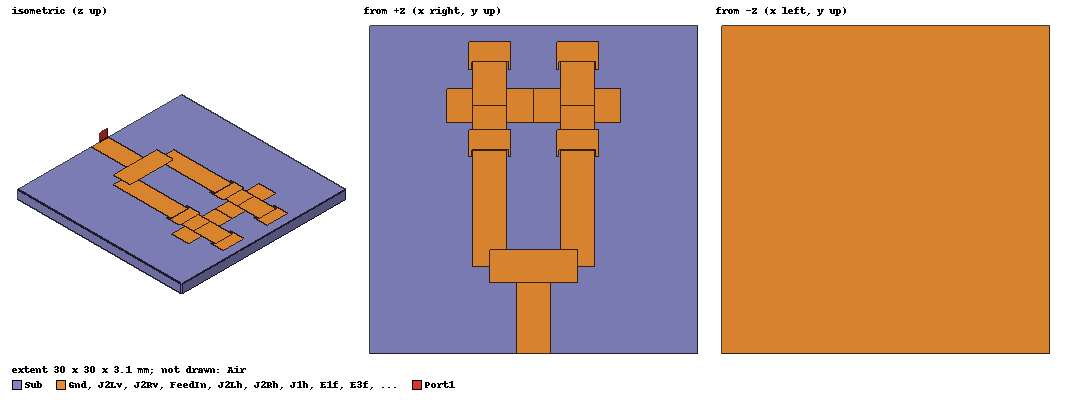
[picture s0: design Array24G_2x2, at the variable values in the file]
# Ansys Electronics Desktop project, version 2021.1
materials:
  vacuum: permittivity=1
  FR4_epoxy: permittivity=4.4 dielectric_loss_tangent=0.02

design Array24G_2x2 (HFSS, DrivenModal, model units mm)
options: Save_Adaptive_support_files
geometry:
  Sub [FR4_epoxy] = box(corner=(0mm, 0mm, -1.6mm), size=(30mm, 30mm, 1.6mm))
  Gnd = rectangle(corner=(0mm, 0mm, -1.6mm), x_size=30mm, y_size=30mm)
  FeedIn = rectangle(corner=(13.45mm, 0mm, 0mm), x_size=3.1mm, y_size=8mm)
  J1h = rectangle(corner=(11mm, 6.45mm, 0mm), x_size=8mm, y_size=3.1mm)
  J2Lv = rectangle(corner=(9.45mm, 8mm, 0mm), x_size=3.1mm, y_size=14.7mm)
  J2Rv = rectangle(corner=(17.45mm, 8mm, 0mm), x_size=3.1mm, y_size=14.7mm)
  J2Lh = rectangle(corner=(7mm, 21.15mm, 0mm), x_size=8mm, y_size=3.1mm)
  J2Rh = rectangle(corner=(15mm, 21.15mm, 0mm), x_size=8mm, y_size=3.1mm)
  E1f = rectangle(corner=(9.45mm, 18.6mm, 0mm), x_size=3.1mm, y_size=4.1mm)
  E2f = rectangle(corner=(17.45mm, 18.6mm, 0mm), x_size=3.1mm, y_size=4.1mm)
  E3f = rectangle(corner=(9.45mm, 22.7mm, 0mm), x_size=3.1mm, y_size=4.1mm)
  E4f = rectangle(corner=(17.45mm, 22.7mm, 0mm), x_size=3.1mm, y_size=4.1mm)
  E1_L = rectangle(corner=(9.1mm, 18mm, 0mm), x_size=0.2mm, y_size=2.5mm)
  E1_R = rectangle(corner=(12.7mm, 18mm, 0mm), x_size=0.2mm, y_size=2.5mm)
  E1_T = rectangle(corner=(9.1mm, 18.7mm, 0mm), x_size=3.8mm, y_size=1.8mm)
  E1_L.unite(E1_R, E1_T)
  E2_L = rectangle(corner=(17.1mm, 18mm, 0mm), x_size=0.2mm, y_size=2.5mm)
  E2_R = rectangle(corner=(20.7mm, 18mm, 0mm), x_size=0.2mm, y_size=2.5mm)
  E2_T = rectangle(corner=(17.1mm, 18.7mm, 0mm), x_size=3.8mm, y_size=1.8mm)
  E2_L.unite(E2_R, E2_T)
  E3_L = rectangle(corner=(9.1mm, 26mm, 0mm), x_size=0.2mm, y_size=2.5mm)
  E3_R = rectangle(corner=(12.7mm, 26mm, 0mm), x_size=0.2mm, y_size=2.5mm)
  E3_T = rectangle(corner=(9.1mm, 26.7mm, 0mm), x_size=3.8mm, y_size=1.8mm)
  E3_L.unite(E3_R, E3_T)
  E4_L = rectangle(corner=(17.1mm, 26mm, 0mm), x_size=0.2mm, y_size=2.5mm)
  E4_R = rectangle(corner=(20.7mm, 26mm, 0mm), x_size=0.2mm, y_size=2.5mm)
  E4_T = rectangle(corner=(17.1mm, 26.7mm, 0mm), x_size=3.8mm, y_size=1.8mm)
  E4_L.unite(E4_R, E4_T)
  Port1 = rectangle(corner=(13.45mm, 0mm, -1.6mm), z_size=3.1mm, x_size=1.6mm)
  Air [vacuum] = box(corner=(-8mm, -8mm, -9.6mm), size=(46mm, 46mm, 17.6mm))
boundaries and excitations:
  PE1: Perfect E Objects=Gnd
  PE2: Perfect E Objects=FeedIn
  PE3: Perfect E Objects=J1h
  PE4: Perfect E Objects=J2Lv
  PE5: Perfect E Objects=J2Rv
  PE6: Perfect E Objects=J2Lh
  PE7: Perfect E Objects=J2Rh
  PE8: Perfect E Objects=E1f
  PE9: Perfect E Objects=E2f
  PE10: Perfect E Objects=E3f
  PE11: Perfect E Objects=E4f
  PE12: Perfect E Objects=E1_L
  PE13: Perfect E Objects=E2_L
  PE14: Perfect E Objects=E3_L
  PE15: Perfect E Objects=E4_L
  Rad: Radiation Objects=Air
  1: Lumped Port Objects=Port1 Modes{Mode1{IntLine{Port1.edge(z at corner) at 0.0312 along -> middle of FeedIn.edge(y at corner)} CharImp=Zpi RenormImp=50ohm}} Impedance=50ohm
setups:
  Setup1: HfssDriven Frequency=23.2GHz MaxDeltaS=0.02 MaximumPasses=6 MinimumPasses=1 MinimumConvergedPasses=1 PercentRefinement=30 BasisOrder=1 PortAccuracy=2
    sweep Sweep: 20GHz to 28GHz, 401 points; Type=Interpolating InterpTolerance=0.5 InterpMaxSolns=250 InterpUsePortImped=false PassivityErrorTolerance=0.0001
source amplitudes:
  1:1: 1W 0deg
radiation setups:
  3D: Infinite Sphere Theta=0deg..180deg step 5deg Phi=-180deg..180deg step 5deg
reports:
  S Parameter Plot 1: dB(S(1,1)) vs Freq on Setup1 : Sweep; markers m1 at 23.2GHz, m2 at 24GHz
  Gain Plot 1: GainTotal vs Phi, Theta on Setup1 : LastAdaptive, 3D [Freq=24GHz]
  Gain Plot 2: GainTotal vs Phi, Theta on Setup1 : LastAdaptive, 3D [Freq=23.2GHz]
